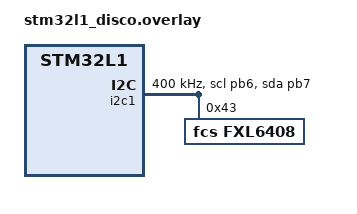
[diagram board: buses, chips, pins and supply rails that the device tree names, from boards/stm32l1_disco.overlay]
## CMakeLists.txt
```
# SPDX-License-Identifier: Apache-2.0

cmake_minimum_required(VERSION 3.13.1)
find_package(Zephyr REQUIRED HINTS $ENV{ZEPHYR_BASE})
project(fxl_app)

target_sources(app PRIVATE src/main.c)
```

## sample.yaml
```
sample:
  name: FXLI2C
tests:
  sample.FXL6408:
    tags: LED i2c gpio
    filter: dt_compat_enabled_with_alias("gpio-leds", "led0")
    depends_on: gpio i2c
    harness: led
    integration_platforms:
      - frdm_k64f
```

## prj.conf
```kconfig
### required for driver but selected by board/SoC already ###
CONFIG_GPIO=y

### required for driver and not selected by board/SoC ###
CONFIG_GPIO_FXL6408=y
CONFIG_I2C=y
CONFIG_LOG=y
```

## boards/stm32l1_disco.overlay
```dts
/*
 * Copyright (c) 2021 Abel Sensors
 *
 * SPDX-License-Identifier: Apache-2.0
 */

&i2c1 {
    clock-frequency = <I2C_BITRATE_FAST>;
    status = "okay";
    pinctrl-0 = <&i2c1_scl_pb6 &i2c1_sda_pb7>;

    gpio_expander: fxl6408@43 {
        status = "okay";
        compatible = "fcs,fxl6408";
        label = "FXL6408";
        reg = <0x43>;
        ngpios = <8>;
        #gpio-cells = <1>;
        gpio-controller;
    };
};
```

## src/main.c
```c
/*
 * Copyright (c) 2021 Abel Sensors
 *
 * SPDX-License-Identifier: Apache-2.0
 */

#include <errno.h>
#include <zephyr.h>
#include <sys/printk.h>
#include <device.h>
#include <drivers/i2c.h>
#include <drivers/gpio.h>

#define GPIO_EXPANDER DT_LABEL(DT_NODELABEL(gpio_expander))
#define I2C           DT_LABEL(DT_NODELABEL(i2c1))

static const struct device *gpio_dev;
static const struct device *i2c_dev;

void main(void)
{
	gpio_dev = device_get_binding(GPIO_EXPANDER);
	i2c_dev  = device_get_binding(I2C);

	if (gpio_dev == NULL || i2c_dev == NULL) {
		while (1) {
			printk("!");
			k_msleep(50);
		}
	}

	gpio_config(gpio_dev, 0, GPIO_INPUT | GPIO_PULL_UP);
	gpio_config(gpio_dev, 1, GPIO_INPUT | GPIO_PULL_UP);

	gpio_config(gpio_dev, 2, GPIO_INPUT | GPIO_PULL_DOWN);
	gpio_config(gpio_dev, 3, GPIO_INPUT | GPIO_PULL_DOWN);

	for (int i = 4; i <= 7; i++) {
		gpio_config(gpio_dev, i, GPIO_OUTPUT | GPIO_PULL_DOWN);
	}

	uint8_t value = 0xFF;
	int result = 0xFF;

	while (1) {
		k_msleep(500);
		gpio_port_set_masked_raw(gpio_dev, 0xF0, value);
		gpio_port_get_raw(gpio_dev, &result);
		printk("result: %d\n", result & 0x0F);
		value ^= 0xFF;
	}
}
```
